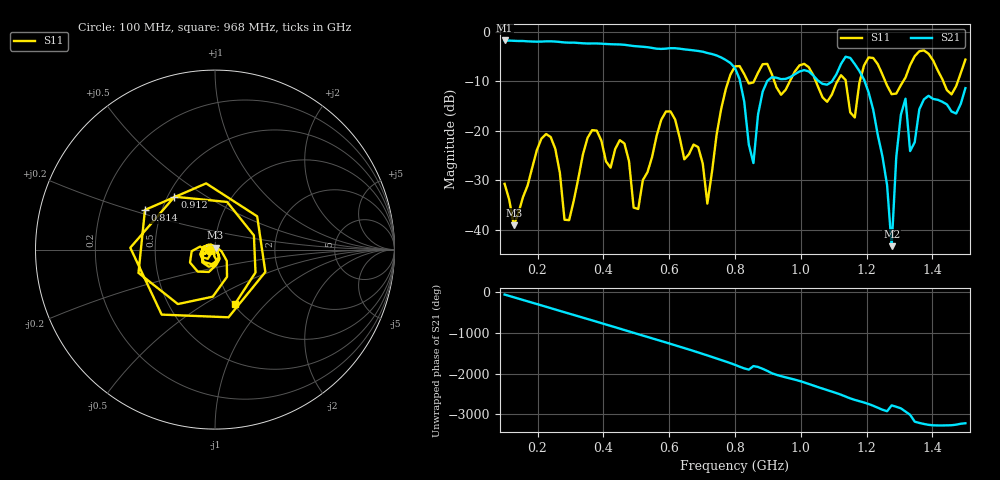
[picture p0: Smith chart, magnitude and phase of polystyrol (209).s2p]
! NanoVNA-App
! Date: 2025-09-25 15:31:31
! Start: 100MHz Stop: 1,5GHz Points: 101
! S-Parameter data: F S11 S21 S12 S22
# Hz S RI R 50
!  Frequency  S11_Real  S11_Imag  S21_Real  S21_Imag  S12_Real  S12_Imag  S22_Real  S22_Imag
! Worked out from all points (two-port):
!   101 points, 100 MHz to 1.5 GHz, reference 50 ohm
!   highest |S21| = -1.80 dB at 100 MHz (marker M1); lowest = -43.3 dB at 1.276 GHz (marker M2)
!   |S21| within 3 dB of the highest: start of sweep to 743 MHz
!   lowest |S11| = -39.1 dB at 128 MHz (marker M3), VSWR 1.02, Z = 50.3 + j1.07 ohm
!   |S11| at or under -10 dB: start of sweep to 779.8 MHz; 1.045 GHz to 1.112 GHz (66.21 MHz wide, 6.14 % of centre); 1.256 GHz to 1.311 GHz (54.92 MHz wide, 4.28 % of centre) (the widest 3 of 7)
!   S12 and S22 are empty: the file has one direction only
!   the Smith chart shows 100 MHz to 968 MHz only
!   S11 on the Smith chart (normalised r, x): 100 MHz: 0.94, -0.01; 814 MHz: 0.40, +0.22; 912 MHz: 0.54, +0.37; 968 MHz: 1.02, -0.69
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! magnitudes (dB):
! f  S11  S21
! 100 MHz  -30.7  -1.8
! 128 MHz  -39.1  -1.9
! 212 MHz  -21.6  -2.0
! 282 MHz  -37.9  -2.2
! 338 MHz  -24.8  -2.4
! 464 MHz  -22.6  -2.7
! 506 MHz  -35.8  -3.0
! 576 MHz  -17.8  -3.5
! 716 MHz  -34.7  -4.3
! 800 MHz  -7.0  -7.4
! 814 MHz  -7.0  -9.6
! 856 MHz  -10.3  -26.5
! 912 MHz  -8.6  -9.2
! 968 MHz  -9.8  -9.2
! 1.038 GHz  -8.8  -8.9
! 1.164 GHz  -17.3  -6.6
! 1.192 GHz  -6.9  -9.7
! 1.276 GHz  -12.6  -43.3
! 1.29 GHz  -12.5  -25.3
! 1.318 GHz  -9.3  -13.5
! 1.332 GHz  -6.8  -24.1
! 1.5 GHz  -5.7  -11.4
